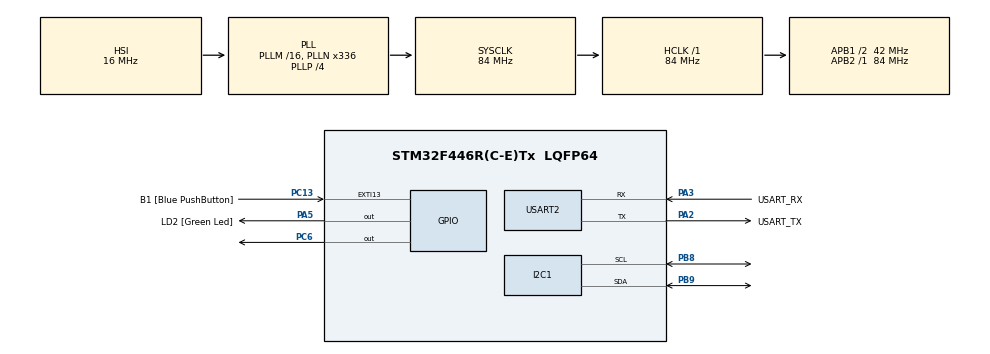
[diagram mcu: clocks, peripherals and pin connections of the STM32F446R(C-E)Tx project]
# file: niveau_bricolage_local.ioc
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I2C1.I2C_Mode=I2C_Fast
Mcu.Family=STM32F4
Mcu.Name=STM32F446R(C-E)Tx
Mcu.Package=LQFP64
NVIC.PriorityGroup=NVIC_PRIORITYGROUP_0
PA13.GPIO_Label=TMS
PA13.Mode=Serial_Wire
PA13.Signal=SYS_JTMS-SWDIO
PA14.GPIO_Label=TCK
PA14.Mode=Serial_Wire
PA14.Signal=SYS_JTCK-SWCLK
PA2.GPIO_Label=USART_TX
PA2.Mode=Asynchronous
PA2.Signal=USART2_TX
PA3.GPIO_Label=USART_RX
PA3.Mode=Asynchronous
PA3.Signal=USART2_RX
PA5.GPIO_Label=LD2 [Green Led]
PA5.Signal=GPIO_Output
PB3.GPIO_Label=SWO
PB3.Signal=SYS_JTDO-SWO
PB8.Mode=I2C
PB8.Signal=I2C1_SCL
PB9.Mode=I2C
PB9.Signal=I2C1_SDA
PC13.GPIO_Label=B1 [Blue PushButton]
PC13.GPIO_ModeDefaultEXTI=GPIO_MODE_IT_FALLING
PC13.Signal=GPXTI13
PC14-OSC32_IN.Mode=LSE-External-Oscillator
PC14-OSC32_IN.Signal=RCC_OSC32_IN
PC15-OSC32_OUT.Mode=LSE-External-Oscillator
PC15-OSC32_OUT.Signal=RCC_OSC32_OUT
PC6.Signal=GPIO_Output
PH0-OSC_IN.Mode=HSE-External-Oscillator
PH0-OSC_IN.Signal=RCC_OSC_IN
PH1-OSC_OUT.Mode=HSE-External-Oscillator
PH1-OSC_OUT.Signal=RCC_OSC_OUT
ProjectManager.HeapSize=0x200
ProjectManager.StackSize=0x400
ProjectManager.TargetToolchain=STM32CubeIDE
RCC.48MHZClocksFreq_Value=84000000
RCC.AHBFreq_Value=84000000
RCC.APB1CLKDivider=RCC_HCLK_DIV2
RCC.APB1Freq_Value=42000000
RCC.APB1TimFreq_Value=84000000
RCC.APB2Freq_Value=84000000
RCC.APB2TimFreq_Value=84000000
RCC.CortexFreq_Value=84000000
RCC.FLatency-AdvancedSettings=FLASH_LATENCY_2
RCC.HCLKFreq_Value=84000000
RCC.HSE_VALUE=8000000
RCC.HSI_VALUE=16000000
RCC.PLLN=336
RCC.PLLP=RCC_PLLP_DIV4
RCC.SYSCLKFreq_VALUE=84000000
RCC.SYSCLKSource=RCC_SYSCLKSOURCE_PLLCLK
RCC.USBFreq_Value=168000000
RCC.VCOOutputFreq_Value=336000000
USART2.VirtualMode=VM_ASYNC
board=NUCLEO-F446RE

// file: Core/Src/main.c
/* USER CODE BEGIN Header */
/**
  ******************************************************************************
  * @file           : main.c
  * @brief          : Main program body
  ******************************************************************************
  * @attention
  *
  * Copyright (c) 2022 STMicroelectronics.
  * All rights reserved.
  *
  * This software is licensed under terms that can be found in the LICENSE file
  * in the root directory of this software component.
  * If no LICENSE file comes with this software, it is provided AS-IS.
  *
  ******************************************************************************
  */
/* USER CODE END Header */
#include "main.h"
#include "i2c.h"
#include "usart.h"
#include "gpio.h"

/* USER CODE BEGIN Includes */
#include <stdio.h>
#include <math.h>
/* USER CODE END Includes */

/* USER CODE BEGIN PD */

#define G_acc (0.004) // accelerometer gain in normal mode
#define G_mag (1.5) // magnetometer gain in normal mode

#define LSM303AGR_ACC_ADDR (0x19<<1) // Accelerometer address (notre adresse est sur 7 bits, on ne perd pas l'information en faisant le décalage)
#define LSM303AGR_WHO_AM_I_A (0x0F) // Accelerometer Who am I Register

#define LSM303AGR_CTRL_REG1_A (0x20) // CTRL register 1
#define LSM303AGR_CTRL_REG5_A (0x24) // CTRL register 5
#define LSM303AGR_OUT_X_L_A (0x28) // Acceleration Registers

#define LSM303AGR_MAG_ADDR (0x1E<<1) // Magnetometer address (notre adresse est sur 7 bits, on ne perd pas l'information en faisant le décalage)
#define LSM303AGR_WHO_AM_I_M (0x4F) // Magnetometer Who am I Register

#define LSM303AGR_CFG_REG_A_M (0x60) // magnetometer cfg reg A (reboot)
#define LSM303AGR_OUTX_L_REG_M (0x68) // Magnetic field registers

// Les décalages sur les adresses sont faits en vue d'utiliser des bibliotèques

/* USER CODE END PD */

/* USER CODE BEGIN PV */
char acc_data_write[6];
char acc_data_read[6];
char mag_data_write[6];
char mag_data_read[6];

float acc_B[3][3]={
		{3.906e-3,9.209e-8,7.720e-6},
		{-7.766e-6,3.976e-3,-1.535e-8},
		{4.623e-5,4.715e-5,3.953e-3}

};
float acc_offset[3]={9.5,-8,-3};

float mag_offX = 0 ,mag_offY = 0,mag_offZ = 0;
/* USER CODE END PV */

void SystemClock_Config(void);
/* USER CODE BEGIN PFP */
void powerup_sensor(void); // power-up sensor and set basics parameters

void get_data(void); // read acceleration in acc_data_read[0:5] and magnetic field in mag_data_read[0:5]

void soft_reset(void); // reset sensor internal parameters ("factory reset")

void read_registers(void);// read all accelerometer and magnetometer registers and print it on serial

void mesure_angle(float aXm, float aYm, float aZm, float mXm, float mYm, float mZm, float* ret);

void read_registers(void);

void calibrer(void);

float radToDeg(float radvalue);

int16_t fusionbinaire(uint8_t LSB, uint8_t MSB);

/* USER CODE END PFP */

/* USER CODE BEGIN 0 */

void __io_putchar(uint8_t ch){
	HAL_UART_Transmit(&huart2, &ch, 1, 1);
}

int16_t fusionbinaire(uint8_t LSB, uint8_t MSB){
    int16_t res=0x0000;
    if(MSB & (1<<7)){
        MSB = (uint8_t)((~MSB)+1);
        res |= LSB>>6;
        res |= (MSB<<2);
        res = (int16_t)((~res)+1);
    }else{
        res |= LSB>>6;
        res |= (MSB<<2);
    }
    return res;
}

void calibrer(void){
	uint32_t tickstart = HAL_GetTick();
	uint32_t wait = 8000;
	float minX=0,minZ=0,maxZ=0,maxX=0,minY=0,maxY=0,val1=0,val2=0,val3=0;
	mag_data_write[0] = LSM303AGR_OUTX_L_REG_M | (1<<7);
	HAL_I2C_Master_Transmit(&hi2c1,LSM303AGR_MAG_ADDR,(uint8_t*)mag_data_write,1,6000);
	HAL_I2C_Master_Receive(&hi2c1,LSM303AGR_MAG_ADDR,(uint8_t*)mag_data_read,6,6000);
	maxX=fusionbinaire(mag_data_read[0],mag_data_read[1]);
	maxY=fusionbinaire(mag_data_read[2],mag_data_read[3]);
	maxZ=fusionbinaire(mag_data_read[4],mag_data_read[5]);
	minX=maxX;
	minY=maxY;
	minZ=maxZ;
	printf("\033[35mDébut de calibration (8 secondes) (Effectuez des cercles avec le niveau pour le calibrer)\n\r");
	while((HAL_GetTick() - tickstart) < wait)
	  {
		mag_data_write[0] = LSM303AGR_OUTX_L_REG_M | (1<<7);
		HAL_I2C_Master_Transmit(&hi2c1,LSM303AGR_MAG_ADDR,(uint8_t*)mag_data_write,1,6000);
		HAL_I2C_Master_Receive(&hi2c1,LSM303AGR_MAG_ADDR,(uint8_t*)mag_data_read,6,6000);
		val1=fusionbinaire(mag_data_read[0],mag_data_read[1]);
		val2=fusionbinaire(mag_data_read[2],mag_data_read[3]);
		val3=fusionbinaire(mag_data_read[4],mag_data_read[5]);
		if (val1>maxX) maxX = val1;
		if (val1<minX) minX = val1;
		if (val2>maxY) maxY = val2;
		if (val2<minY) minY = val2;
		if (val3>maxZ) maxZ = val3;
		if (val3<minZ) minZ = val3;
	  }
	mag_offX=(maxX+minX)/2;
	mag_offY=(maxY+minY)/2;
	mag_offZ=(maxZ+minZ)/2;
	//printf("\033[32mFin de la calibration ! offsetX= %fdigit offsetY= %fdigit offsetZ= %fdigit\033[0m\n\r",mag_offX,mag_offY,mag_offZ);
	printf("\033[32mFin de la calibration ! offsetX= %fmG offsetY= %fmG offsetZ= %fmG\033[0m\n\r",mag_offX*G_mag,mag_offY*G_mag,mag_offZ*G_mag);
	HAL_Delay(2000);
}

void get_data(void){
	 acc_data_write[0] = LSM303AGR_OUT_X_L_A | (1<<7);
	 HAL_I2C_Master_Transmit(&hi2c1,LSM303AGR_ACC_ADDR,(uint8_t*)acc_data_write,1,6000);
	 HAL_I2C_Master_Receive(&hi2c1,LSM303AGR_ACC_ADDR,(uint8_t*)acc_data_read,6,6000);

	 mag_data_write[0] = LSM303AGR_OUTX_L_REG_M | (1<<7);
	 HAL_I2C_Master_Transmit(&hi2c1,LSM303AGR_MAG_ADDR,(uint8_t*)mag_data_write,1,6000);
	 HAL_I2C_Master_Receive(&hi2c1,LSM303AGR_MAG_ADDR,(uint8_t*)mag_data_read,6,6000);
}
void powerup_sensor(void){
	// Turn on accelerometer
	HAL_StatusTypeDef ret;
	// Accelerometer test
	acc_data_write[0] = LSM303AGR_WHO_AM_I_A;

	ret = HAL_I2C_Master_Transmit(&hi2c1,LSM303AGR_ACC_ADDR,(uint8_t*)acc_data_write,1,2000);
	if (ret != HAL_OK) {printf("FAILED TX1: RETURN ERROR: %d",ret);}

	HAL_I2C_Master_Receive(&hi2c1,LSM303AGR_ACC_ADDR,(uint8_t*)acc_data_read,1,1000);
	printf("RECEIVED ACCELEROMETER 'WHO AM I' WITH ID : (0x%.2x)\n\r",acc_data_read[0]);

	acc_data_write[0] = LSM303AGR_WHO_AM_I_M;

	ret = HAL_I2C_Master_Transmit(&hi2c1,LSM303AGR_MAG_ADDR,(uint8_t*)acc_data_write,1,2000);
	if (ret != HAL_OK) {printf("FAILED TX2: RETURN ERROR: %d",ret);}

	HAL_I2C_Master_Receive(&hi2c1,LSM303AGR_MAG_ADDR,(uint8_t*)acc_data_read,1,1000);
	printf("RECEIVED MAGNETO 'WHO AM I' WITH ID : (0x%.2x)\n\r",acc_data_read[0]);
	printf("Powerup [OK]\n\r");
	printf("\n\r");

}
float radToDeg(float radvalue){
	return radvalue * 180/M_PI;
}

void mesure_angle(float aXm, float aYm, float aZm, float mXm, float mYm, float mZm, float* ret){

	//ACCELERO
	float theta = atan(aYm/aXm);
        float psi =  atan((-aZm)/sqrt(aYm*aYm+aXm*aXm));
       // MAGNETO
        float phi = atan((mXm*sin(theta)-mYm*cos(theta))/(mZm*cos(psi)+mYm*sin(theta)*sin(psi)+mXm*cos(theta)*sin(psi)));
        float delta = acos(sqrt((mYm*aZm-mZm*aYm)*(mYm*aZm-mZm*aYm)+(mZm*aXm-mXm*aZm)*(mZm*aXm-mXm*aZm)+(mXm*aYm-mYm*aXm)*(mXm*aYm-mYm*aXm))/((sqrt(mXm*mXm+mYm*mYm+mZm*mZm)*sqrt(aXm*aXm+aYm*aYm+aZm*aZm))));
        ret[0] = radToDeg(theta);
        ret[1] = radToDeg(psi);
		ret[2] = radToDeg(phi);
		ret[3] = radToDeg(delta);
}

void soft_reset(void){
	acc_data_write[0]=LSM303AGR_CTRL_REG5_A | (1<<7);
	acc_data_write[1] = 0x40; //Reboot memory content -> en binaire 0b10000000
	HAL_I2C_Master_Transmit(&hi2c1,LSM303AGR_ACC_ADDR,(uint8_t*)acc_data_write,2,1000);
	HAL_Delay(100);
	acc_data_write[0] = LSM303AGR_CTRL_REG1_A;
	acc_data_write[1] = 0x27; //10 Hz, ENABLE X-AXIS,Y-AXIS,Z-AXIS
	HAL_I2C_Master_Transmit(&hi2c1,LSM303AGR_ACC_ADDR,(uint8_t*)acc_data_write,2,1000);
	printf("SOFT RESET [OK]\n\r");

	//MAGNETO RESET
	acc_data_write[0]=LSM303AGR_CFG_REG_A_M | (1<<7);
	acc_data_write[1] = 0b10000000;
		HAL_I2C_Master_Transmit(&hi2c1,LSM303AGR_MAG_ADDR,(uint8_t*)acc_data_write,2,1000);
}

void read_registers(void){
	acc_data_write[0] = LSM303AGR_CFG_REG_A_M | (1 << 7);
	HAL_I2C_Master_Transmit(&hi2c1,LSM303AGR_MAG_ADDR,(uint8_t*)acc_data_write,1,6000);

	HAL_I2C_Master_Receive(&hi2c1,LSM303AGR_MAG_ADDR,(uint8_t*)acc_data_read,6,6000);

	for(int i=0;i<6;i++){
		printf("CTRL %d : 0x%.2x\n\r",i+1,acc_data_read[i]);
	}
}
/* USER CODE END 0 */

int main(void)
{
  /* USER CODE BEGIN 1 */
 int16_t aXm,aYm,aZm;
 int16_t mXm,mYm,mZm;
 float aXmR,aYmR,aZmR;
 float mXmR,mYmR,mZmR;
  /* USER CODE END 1 */

  /* MCU Configuration--------------------------------------------------------*/

  /* Reset of all peripherals, Initializes the Flash interface and the Systick. */
  HAL_Init();

  /* Configure the system clock */
  SystemClock_Config();

  /* Initialize all configured peripherals */
  MX_GPIO_Init();
  MX_USART2_UART_Init();
  MX_I2C1_Init();
  /* USER CODE BEGIN 2 */
  printf("\033[2J\033[33m\r---- PROJET NIVEAU ----\n\r\033[0m");
  soft_reset();
  powerup_sensor();
  /* USER CODE END 2 */

  /* Infinite loop */
  /* USER CODE BEGIN WHILE */
  HAL_Delay(1000);
  calibrer();
  HAL_Delay(2000);
  while (1)
  {
	  HAL_Delay(200);
	 get_data();
	aXm=fusionbinaire(acc_data_read[0],acc_data_read[1]);
	aYm=fusionbinaire(acc_data_read[2],acc_data_read[3]);
	aZm=fusionbinaire(acc_data_read[4],acc_data_read[5]);

	aXmR=(acc_B[0][0]*(aXm-acc_offset[0]) + acc_B[0][1]*(aYm-acc_offset[1]) + acc_B[0][2]*(aZm-acc_offset[2]));
	aYmR=(acc_B[1][0]*(aXm-acc_offset[0]) + acc_B[1][1]*(aYm-acc_offset[1]) + acc_B[1][2]*(aZm-acc_offset[2]));
	aZmR=(acc_B[2][0]*(aXm-acc_offset[0]) + acc_B[2][1]*(aYm-acc_offset[1]) + acc_B[2][2]*(aZm-acc_offset[2]));

	mXm=fusionbinaire(mag_data_read[0],mag_data_read[1]);
	mYm=fusionbinaire(mag_data_read[2],mag_data_read[3]);
	mZm=fusionbinaire(mag_data_read[4],mag_data_read[5]);

	mXmR=( mXm - mag_offX)*G_mag;
	mYmR= (mYm - mag_offY)*G_mag;
	mZmR = (mZm - mag_offZ)*G_mag;

	printf("\033[2J");
	printf("\033[Hax = %d\t ay = %d\t az=%d\r\n",aXm,aYm,aZm);
	printf("aXm = %3.2fg\t aYm = %3.2fg\t aZm=%3.2fg\r\n",(float)aXm*G_acc,(float)aYm*G_acc,(float)aZm*G_acc);
	printf("aXmR = %3.2fg\t aYmR = %3.2fg\t aZmR=%3.2fg\r\n",aXmR,aYmR,aZmR);
	printf("\n\r");
	printf("mx = %d\t my = %d\t mz=%d\r\n",mXm,mYm,mZm);
	printf("mXm = %3.2fg\t mYm = %3.2fg\t mZm=%3.2fg\r\n",(float)mXm*G_mag,(float)mYm*G_mag,(float)mZm*G_mag);
	printf("mXmR = %3.2fg\t mYmR = %3.2fg\t mZmR=%3.2fg\r\n",mXmR,mYmR,mZmR);
	printf("\n\r");
	float ret[4];
	mesure_angle(aXmR,aYmR,aZmR,mXmR,mYmR,mZmR,(float*)ret);
	printf("Θ = %3.2f\n\rΨ=%3.2f\n\rφ= %3.2f\n\rδ= %3.2f\n\r ",ret[0],ret[1],ret[2],ret[3]);
	//read_registers();
	//printf("VALUE : %d \t HEX: %.4X\n\r",fusionbinaire(0x80,0x9F),fusionbinaire(0x80,0x9F));
	//printf("mx=%5d my=%5d mz=%5d\t mx = %3.2fmG\t my = %3.2fmG\t mz=%3.2fmG\r\n", mXm,mYm,mZm,((float) mXm)*G_mag,((float)mYm)*G_mag,((float)mZm)*G_mag);
    /* USER CODE END WHILE */

  }
}

void SystemClock_Config(void)
{
  RCC_OscInitTypeDef RCC_OscInitStruct = {0};
  RCC_ClkInitTypeDef RCC_ClkInitStruct = {0};

  /** Configure the main internal regulator output voltage
  */
  __HAL_RCC_PWR_CLK_ENABLE();
  __HAL_PWR_VOLTAGESCALING_CONFIG(PWR_REGULATOR_VOLTAGE_SCALE3);

  /** Initializes the RCC Oscillators according to the specified parameters
  * in the RCC_OscInitTypeDef structure.
  */
  RCC_OscInitStruct.OscillatorType = RCC_OSCILLATORTYPE_HSI;
  RCC_OscInitStruct.HSIState = RCC_HSI_ON;
  RCC_OscInitStruct.HSICalibrationValue = RCC_HSICALIBRATION_DEFAULT;
  RCC_OscInitStruct.PLL.PLLState = RCC_PLL_ON;
  RCC_OscInitStruct.PLL.PLLSource = RCC_PLLSOURCE_HSI;
  RCC_OscInitStruct.PLL.PLLM = 16;
  RCC_OscInitStruct.PLL.PLLN = 336;
  RCC_OscInitStruct.PLL.PLLP = RCC_PLLP_DIV4;
  RCC_OscInitStruct.PLL.PLLQ = 2;
  RCC_OscInitStruct.PLL.PLLR = 2;
  if (HAL_RCC_OscConfig(&RCC_OscInitStruct) != HAL_OK)
  {
    Error_Handler();
  }

  /** Initializes the CPU, AHB and APB buses clocks
  */
  RCC_ClkInitStruct.ClockType = RCC_CLOCKTYPE_HCLK|RCC_CLOCKTYPE_SYSCLK
                              |RCC_CLOCKTYPE_PCLK1|RCC_CLOCKTYPE_PCLK2;
  RCC_ClkInitStruct.SYSCLKSource = RCC_SYSCLKSOURCE_PLLCLK;
  RCC_ClkInitStruct.AHBCLKDivider = RCC_SYSCLK_DIV1;
  RCC_ClkInitStruct.APB1CLKDivider = RCC_HCLK_DIV2;
  RCC_ClkInitStruct.APB2CLKDivider = RCC_HCLK_DIV1;

  if (HAL_RCC_ClockConfig(&RCC_ClkInitStruct, FLASH_LATENCY_2) != HAL_OK)
  {
    Error_Handler();
  }
}

void Error_Handler(void)
{
  __disable_irq();
  while (1)
  {
  }
}
